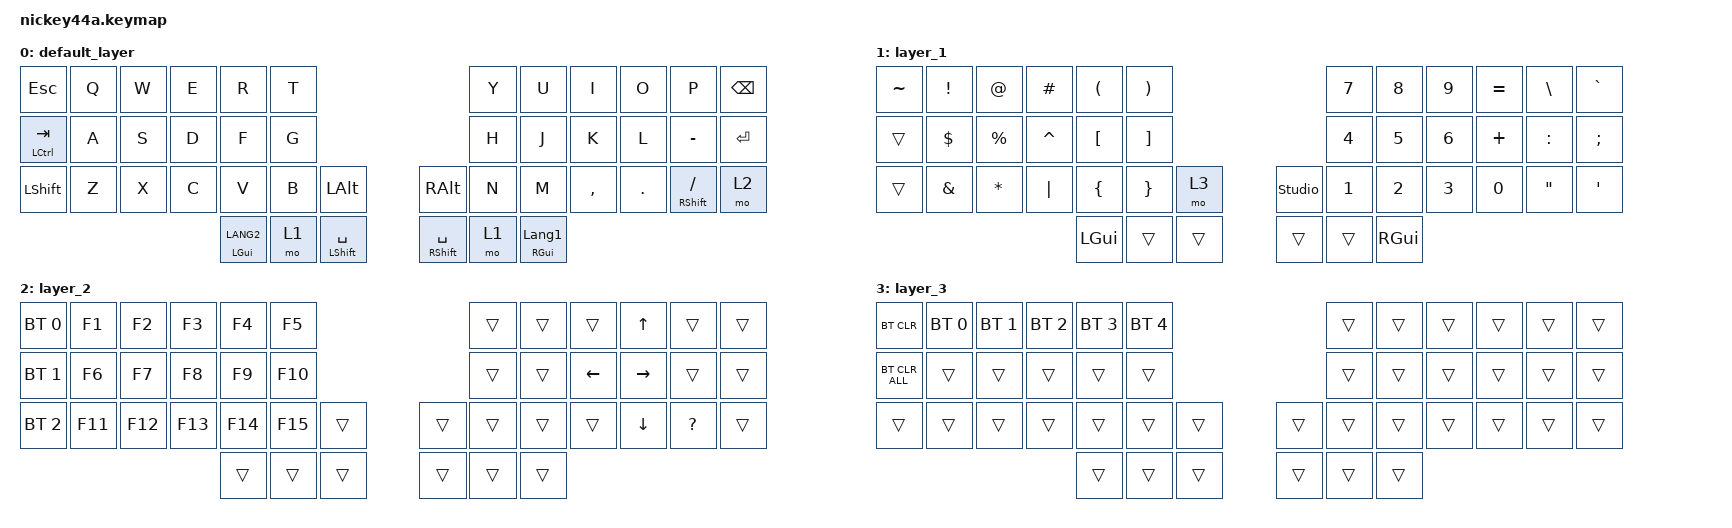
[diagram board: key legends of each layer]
#include <behaviors.dtsi>
#include <dt-bindings/zmk/bt.h>
#include <dt-bindings/zmk/keys.h>

&mt {
    flavor = "balanced";
    quick-tap-ms = <0>;
};

&lt {
    quick-tap-ms = <300>;
    flavor = "balanced";
};

/ {
    combos { compatible = "zmk,combos"; };

    macros {
        to_layer_0: to_layer_0 {
            compatible = "zmk,behavior-macro-one-param";
            #binding-cells = <1>;
            bindings = <&to 0 &macro_param_1to1 &kp MACRO_PLACEHOLDER>;
            label = "TO_LAYER_0";
        };
    };

    behaviors {
        lt_to_layer_0: lt_to_layer_0 {
            compatible = "zmk,behavior-hold-tap";
            label = "LAYER_TAP_TO_0";
            bindings = <&mo>, <&to_layer_0>;

            #binding-cells = <2>;
            tapping-term-ms = <200>;
        };
    };

    keymap {
        compatible = "zmk,keymap";

        default_layer {
            bindings = <
&kp ESC        &kp Q  &kp W  &kp E  &kp R               &kp T                                                 &kp Y  &kp U                     &kp I      &kp O    &kp P                  &kp BACKSPACE
&mt LCTRL TAB  &kp A  &kp S  &kp D  &kp F               &kp G                                                 &kp H  &kp J                     &kp K      &kp L    &kp MINUS              &kp ENTER
&kp LSHFT      &kp Z  &kp X  &kp C  &kp V               &kp B  &kp LEFT_ALT            &kp RIGHT_ALT          &kp N  &kp M                     &kp COMMA  &kp DOT  &mt RIGHT_SHIFT SLASH  &mo 2
                                    &mt LEFT_GUI LANG2  &mo 1  &mt LEFT_SHIFT SPACE    &mt RIGHT_SHIFT SPACE  &mo 1  &mt RIGHT_GUI LANGUAGE_1
            >;
        };

        layer_1 {
            bindings = <
&kp TILDE  &kp EXCLAMATION  &kp AT_SIGN   &kp HASH   &kp LEFT_PARENTHESIS  &kp RIGHT_PARENTHESIS                            &kp N7        &kp N8         &kp N9        &kp EQUAL  &kp BACKSLASH      &kp GRAVE
&trans     &kp DOLLAR       &kp PERCENT   &kp CARET  &kp LEFT_BRACKET      &kp RIGHT_BRACKET                                &kp NUMBER_4  &kp N5         &kp NUMBER_6  &kp PLUS   &kp COLON          &kp SEMI
&trans     &kp AMPERSAND    &kp ASTERISK  &kp PIPE   &kp LEFT_BRACE        &kp RIGHT_BRACE        &mo 3     &studio_unlock  &kp NUMBER_1  &kp NUMBER_2   &kp NUMBER_3  &kp N0     &kp DOUBLE_QUOTES  &kp SINGLE_QUOTE
                                                     &kp LEFT_GUI          &trans                 &trans    &trans          &trans        &kp RIGHT_GUI
            >;
        };

        layer_2 {
            bindings = <
&bt BT_SEL 0  &kp F1   &kp F2   &kp F3   &kp F4   &kp F5                     &trans  &trans  &trans    &kp UP     &trans        &trans
&bt BT_SEL 1  &kp F6   &kp F7   &kp F8   &kp F9   &kp F10                    &trans  &trans  &kp LEFT  &kp RIGHT  &trans        &trans
&bt BT_SEL 2  &kp F11  &kp F12  &kp F13  &kp F14  &kp F15  &trans    &trans  &trans  &trans  &trans    &kp DOWN   &kp QUESTION  &trans
                                         &trans   &trans   &trans    &trans  &trans  &trans
            >;
        };

        layer_3 {
            bindings = <
&bt BT_CLR      &bt BT_SEL 0  &bt BT_SEL 1  &bt BT_SEL 2  &bt BT_SEL 3  &bt BT_SEL 4                    &trans  &trans  &trans  &trans  &trans  &trans
&bt BT_CLR_ALL  &trans        &trans        &trans        &trans        &trans                          &trans  &trans  &trans  &trans  &trans  &trans
&trans          &trans        &trans        &trans        &trans        &trans        &trans    &trans  &trans  &trans  &trans  &trans  &trans  &trans
                                                          &trans        &trans        &trans    &trans  &trans  &trans
            >;
        };
    };
};
